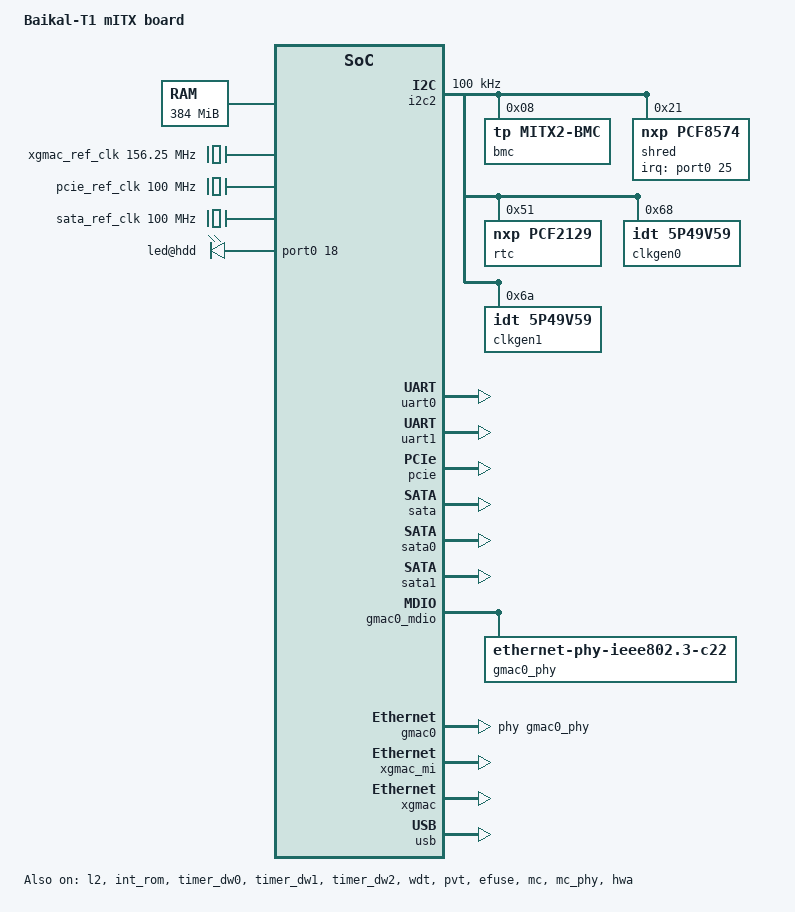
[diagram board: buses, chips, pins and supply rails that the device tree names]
// SPDX-License-Identifier: GPL-2.0-only
/*
 * Copyright (C) 2017-2018 T-platforms, JSC
 * Copyright (C) 2022 BAIKAL ELECTRONICS, JSC
 * Copyright (C) 2024 Nikita Radchenko <nradchenko@protonmail.com>
 *
 * Baikal-T1 mITX board device tree
 */

/dts-v1/;

#include <dt-bindings/interrupt-controller/irq.h>
#include <dt-bindings/leds/common.h>

#include "bt1.dtsi"

/ {
	model = "Baikal-T1 mITX board";
	compatible = "baikal,bt1", "tp,baikal-mitx-board";

	chosen {
		/*
		 * Note of having both EARLY_PRINTK and SERIAL_EARLYCON
		 * activated at the same time. If they both refer to the same
		 * device, you'll end up with duplicated log messages.
		 * Here by passing 'earlycon' to the kernel we'll activate it
		 * to parse the stdout-path property to find the early console
		 * device. System console will be then activated in accordance
		 * with it if 'console=' parameter isn't passed. Any of the
		 * following consoles are valid: ttyS{0,1}/uart{0,1} (which
		 * alias is serial{0,1}), early_fdc (CDMM-JTAG serial iface).
		 */
		bootargs = "console=ttyS0,115200n8 earlycon maxcpus=2";
		stdout-path = "serial0:115200n8";

		/* It's implied that the bootloader updates the initrd address */
		linux,initrd-start = <0 0>;
		linux,initrd-end   = <0 0>;
	};

	memory {
		/*
		 * Declare required low-memory and additional 256MB of high-
		 * memory, which due to the DW uMCTL2 controller specific setup
		 * nearly always exists as being remapped upper part of the
		 * first memory chip. Without low-level remapping that segment
		 * is hidden behind the MMIO region and isn't reachable.
		 * NOTE. For the reason of having MMIO above the very first
		 * 128MB of the low memory, the second 128MB of the physical
		 * memory is always unavailable as being hidden behind MMIO
		 * and non-remappable by DW uMCTL2.
		 */
		device_type = "memory";
		reg = <0 0x00000000 0 0x08000000>,
		      <0 0x20000000 0 0x10000000>;
	};

	/* Standard xGMAC/PCIe/SATA reference clocks setup */
	clocks {
		xgmac_ref_clk: clock-oscillator-xgmac {
			compatible = "fixed-clock";
			#clock-cells = <0>;
			clock-frequency = <156250000>;
			clock-output-names = "xgmac156m";
		};

		pcie_ref_clk: clock-oscillator-pcie {
			compatible = "fixed-clock";
			#clock-cells = <0>;
			clock-frequency = <100000000>;
			clock-output-names = "pcie100m";
		};

		sata_ref_clk: clock-oscillator-sata {
			compatible = "fixed-clock";
			#clock-cells = <0>;
			clock-frequency = <100000000>;
			clock-output-names = "sata100m";
		};
	};

	leds {
		compatible = "gpio-leds";

		led@hdd {
			function = LED_FUNCTION_DISK_ACTIVITY;
			gpios = <&port0 18 GPIO_ACTIVE_HIGH>;
			linux,default-trigger = "disk-activity";
		};
	};
};

&l2 {
	status = "okay";
};

&int_rom {
	status = "okay";
};

&gpio0 {
	status = "okay";
};

&gpio1 {
	status = "okay";
};

&i2c2 {
	status = "okay";
	clock-frequency = <100000>;

	bmc: bmc@8 {
		compatible = "tp,mitx2-bmc";
		reg = <0x08>;
	};

	shred: gpio@21 {
		compatible = "nxp,pcf8574";
		reg = <0x21>;
		gpio-controller;
		#gpio-cells = <2>;
		interrupt-parent = <&port0>;
		interrupts = <25 IRQ_TYPE_LEVEL_LOW>;
		interrupt-controller;
		#interrupt-cells = <2>;
		ngpios = <8>; /* Informative */
	};

	rtc: rtc@51 {
		compatible = "nxp,pcf2129", "nxp,pcf2127";
		reg = <0x51>;
	};

	clkgen0: clkgen@68 {
		compatible = "idt,5p49v59";
		reg = <0x68>;
	};

	clkgen1: clkgen@6a {
		compatible = "idt,5p49v59";
		reg = <0x6A>;
	};
};

&timer_dw0 {
	status = "okay";
};

&timer_dw1 {
	status = "okay";
};

&timer_dw2 {
	status = "okay";
};

&uart0 {
	status = "okay";
};

&uart1 {
	status = "okay";
};

&wdt {
	status = "okay";
};

&pvt {
	status = "okay";
};

&efuse {
	status = "okay";
};

&pcie {
	clocks = <&ccu_sys CCU_SYS_APB_CLK>,
		 <&ccu_axi CCU_AXI_PCIE_M_CLK>,
		 <&ccu_axi CCU_AXI_PCIE_S_CLK>,
		 <&pcie_ref_clk>;
	clock-names = "dbi", "mstr", "slv", "ref";

	status = "okay";
};

&sram {
	status = "okay";
};

&dma {
	status = "okay";
};

&mc {
	status = "okay";
};

&mc_phy {
	status = "okay";
};

&sata {
	clocks = <&ccu_sys CCU_SYS_APB_CLK>,
		 <&ccu_axi CCU_AXI_SATA_CLK>,
		 <&sata_ref_clk>;
	clock-names = "pclk", "aclk", "ref";

	status = "okay";
};

&sata0 {
	hba-port-cap = <HBA_PORT_FBSCP>;

	status = "okay";
};

&sata1 {
	hba-port-cap = <HBA_PORT_FBSCP>;

	status = "okay";
};

&hwa {
	status = "okay";
};

&gmac0_mdio {
	reset-delay-us = <10000>;
	reset-post-delay-us = <30000>;

	gmac0_phy: ethernet-phy {
		compatible = "ethernet-phy-ieee802.3-c22";
	};
};

&gmac0 {
	mac-address = [ 7a 72 6c 4a 7a 07 ];

	phy-handle = <&gmac0_phy>;

	status = "okay";
};

&xgmac_mi {
	status = "okay";
};

&xgmac_pcs {
	clocks = <&ccu_sys CCU_SYS_XGMAC_REF_CLK>,
			 <&xgmac_ref_clk>;
	clock-names = "core", "pad";
};

&xgmac {
	mac-address = [ 00 20 13 ba 1c a1 ];

	status = "okay";
};

&usb {
	status = "okay";
};
